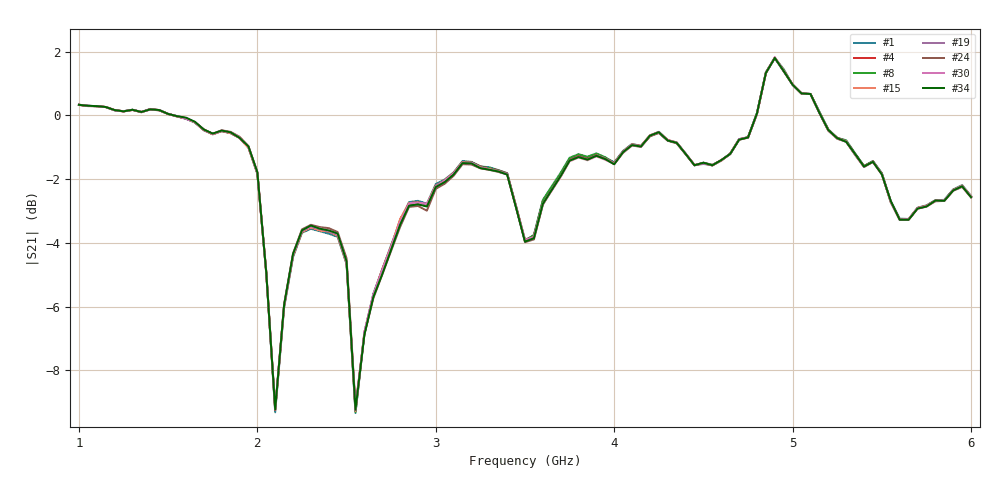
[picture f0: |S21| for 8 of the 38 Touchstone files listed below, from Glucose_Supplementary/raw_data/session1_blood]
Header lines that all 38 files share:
! NanoVNA-App
! Start: 1GHz Stop: 6GHz Points: 101
! S-Parameter data: F S11 S21 S12 S22
# Hz S RI R 50
!	Frequency	S11_Real	S11_Imag	S21_Real	S21_Imag	S12_Real	S12_Imag	S22_Real	S22_Imag
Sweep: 1 GHz to 6 GHz
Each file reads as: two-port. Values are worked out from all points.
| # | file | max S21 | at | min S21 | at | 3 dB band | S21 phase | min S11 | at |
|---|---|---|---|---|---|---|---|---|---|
| 1 | Blood Glu100 2.s2p | 1.79 dB | 4.9 GHz | -9.3 dB | 2.55 GHz | 1 GHz-1.95 GHz | 154 deg at 3.5 GHz | -30.9 dB | 1.45 GHz |
| 2 | Blood Glu100 3.s2p | 1.80 dB | 4.9 GHz | -9.3 dB | 2.55 GHz | 1 GHz-1.95 GHz | 154 deg at 3.5 GHz | -30.9 dB | 1.45 GHz |
| 3 | Blood Glu110 1 temp 25.1 deg.s2p | 1.82 dB | 4.9 GHz | -9.2 dB | 2.55 GHz | 1 GHz-1.95 GHz | 154 deg at 3.5 GHz | -31.7 dB | 3.8 GHz |
| 4 | Blood Glu110 2.s2p | 1.81 dB | 4.9 GHz | -9.3 dB | 2.1 GHz | 1 GHz-1.95 GHz | 154 deg at 3.5 GHz | -31.0 dB | 1.45 GHz |
| 5 | Blood Glu110 3.s2p | 1.81 dB | 4.9 GHz | -9.2 dB | 2.1 GHz | 1 GHz-1.95 GHz | 154 deg at 3.5 GHz | -31.1 dB | 3.8 GHz |
| 6 | Blood Glu120 1 temp 25.2 deg.s2p | 1.86 dB | 4.9 GHz | -9.3 dB | 2.55 GHz | 1 GHz-1.95 GHz | 154 deg at 3.5 GHz | -31.0 dB | 1.45 GHz |
| 7 | Blood Glu120 2.s2p | 1.80 dB | 4.9 GHz | -9.3 dB | 2.55 GHz | 1 GHz-1.95 GHz | 154 deg at 3.5 GHz | -31.0 dB | 1.45 GHz |
| 8 | Blood Glu120 3.s2p | 1.80 dB | 4.9 GHz | -9.3 dB | 2.55 GHz | 1 GHz-1.95 GHz | 155 deg at 3.5 GHz | -31.3 dB | 3.8 GHz |
| 9 | Blood Glu125 1 temp 25.3 deg.s2p | 1.80 dB | 4.9 GHz | -9.3 dB | 2.55 GHz | 1 GHz-1.95 GHz | 154 deg at 3.5 GHz | -30.9 dB | 1.45 GHz |
| 10 | Blood Glu125 2.s2p | 1.81 dB | 4.9 GHz | -9.3 dB | 2.55 GHz | 1 GHz-1.95 GHz | 154 deg at 3.5 GHz | -30.9 dB | 1.45 GHz |
| 11 | Blood Glu125 3.s2p | 1.80 dB | 4.9 GHz | -9.3 dB | 2.55 GHz | 1 GHz-1.95 GHz | 154 deg at 3.5 GHz | -30.9 dB | 1.45 GHz |
| 12 | Blood Glu145 1 temp 25.2 deg.s2p | 1.80 dB | 4.9 GHz | -9.3 dB | 2.55 GHz | 1 GHz-1.95 GHz | 154 deg at 3.5 GHz | -30.9 dB | 1.45 GHz |
| 13 | Blood Glu145 2.s2p | 1.80 dB | 4.9 GHz | -9.3 dB | 2.55 GHz | 1 GHz-1.95 GHz | 154 deg at 3.5 GHz | -30.9 dB | 1.45 GHz |
| 14 | Blood Glu145 3.s2p | 1.82 dB | 4.9 GHz | -9.3 dB | 2.55 GHz | 1 GHz-1.95 GHz | 154 deg at 3.5 GHz | -31.1 dB | 3.8 GHz |
| 15 | Blood Glu165 1 temp 25.2 deg.s2p | 1.82 dB | 4.9 GHz | -9.3 dB | 2.55 GHz | 1 GHz-1.95 GHz | 154 deg at 3.5 GHz | -30.9 dB | 1.45 GHz |
| 16 | Blood Glu165 2.s2p | 1.81 dB | 4.9 GHz | -9.3 dB | 2.55 GHz | 1 GHz-1.95 GHz | 154 deg at 3.5 GHz | -31.0 dB | 1.45 GHz |
| 17 | Blood Glu165 3.s2p | 1.80 dB | 4.9 GHz | -9.4 dB | 2.55 GHz | 1 GHz-1.95 GHz | 154 deg at 3.5 GHz | -31.0 dB | 1.45 GHz |
| 18 | Blood Glu185 1 temp 25.1 deg.s2p | 1.80 dB | 4.9 GHz | -9.2 dB | 2.55 GHz | 1 GHz-1.95 GHz | 154 deg at 3.5 GHz | -30.9 dB | 1.45 GHz |
| 19 | Blood Glu185 2.s2p | 1.80 dB | 4.9 GHz | -9.2 dB | 2.1 GHz | 1 GHz-1.95 GHz | 154 deg at 3.5 GHz | -30.9 dB | 1.45 GHz |
| 20 | Blood Glu185 3.s2p | 1.82 dB | 4.9 GHz | -9.2 dB | 2.55 GHz | 1 GHz-1.95 GHz | 154 deg at 3.5 GHz | -31.3 dB | 3.8 GHz |
| 21 | Blood Glu200 1 temp 25.1 deg.s2p | 1.80 dB | 4.9 GHz | -9.2 dB | 2.1 GHz | 1 GHz-1.95 GHz | 154 deg at 3.5 GHz | -30.9 dB | 1.45 GHz |
| 22 | Blood Glu200 2.s2p | 1.81 dB | 4.9 GHz | -9.2 dB | 2.1 GHz | 1 GHz-1.95 GHz | 154 deg at 3.5 GHz | -30.9 dB | 1.45 GHz |
| 23 | Blood Glu200 3.s2p | 1.80 dB | 4.9 GHz | -9.2 dB | 2.1 GHz | 1 GHz-1.95 GHz | 154 deg at 3.5 GHz | -30.9 dB | 1.45 GHz |
| 24 | Blood Glu220 1 temp 25.3 deg.s2p | 1.81 dB | 4.9 GHz | -9.2 dB | 2.1 GHz | 1 GHz-1.95 GHz | 154 deg at 3.5 GHz | -30.9 dB | 3.8 GHz |
| 25 | Blood Glu220 2.s2p | 1.82 dB | 4.9 GHz | -9.2 dB | 2.1 GHz | 1 GHz-1.95 GHz | 154 deg at 3.5 GHz | -30.8 dB | 1.45 GHz |
| 26 | Blood Glu220 3.s2p | 1.81 dB | 4.9 GHz | -9.2 dB | 2.55 GHz | 1 GHz-1.95 GHz | 154 deg at 3.5 GHz | -31.0 dB | 1.45 GHz |
| 27 | Blood Glu240 1 temp 25.3 deg.s2p | 1.80 dB | 4.9 GHz | -9.2 dB | 2.55 GHz | 1 GHz-1.95 GHz | 154 deg at 3.5 GHz | -30.9 dB | 1.45 GHz |
| 28 | Blood Glu240 2.s2p | 1.82 dB | 4.9 GHz | -9.2 dB | 2.55 GHz | 1 GHz-1.95 GHz | 154 deg at 3.5 GHz | -30.9 dB | 1.45 GHz |
| 29 | Blood Glu240 3.s2p | 1.82 dB | 4.9 GHz | -9.2 dB | 2.55 GHz | 1 GHz-1.95 GHz | 154 deg at 3.5 GHz | -30.9 dB | 1.45 GHz |
| 30 | Blood Glu260 1 temp 25.4 deg.s2p | 1.82 dB | 4.9 GHz | -9.2 dB | 2.55 GHz | 1 GHz-1.95 GHz | 154 deg at 3.5 GHz | -30.8 dB | 1.45 GHz |
| 31 | Blood Glu260 2.s2p | 1.81 dB | 4.9 GHz | -9.2 dB | 2.1 GHz | 1 GHz-1.95 GHz | 154 deg at 3.5 GHz | -30.8 dB | 1.45 GHz |
| 32 | Blood Glu260 3.s2p | 1.81 dB | 4.9 GHz | -9.2 dB | 2.1 GHz | 1 GHz-1.95 GHz | 153 deg at 3.5 GHz | -30.8 dB | 1.45 GHz |
| 33 | Blood Glu280 1 temp 25.2 deg.s2p | 1.81 dB | 4.9 GHz | -9.2 dB | 2.55 GHz | 1 GHz-1.95 GHz | 154 deg at 3.5 GHz | -30.8 dB | 1.45 GHz |
| 34 | Blood Glu280 2.s2p | 1.80 dB | 4.9 GHz | -9.2 dB | 2.55 GHz | 1 GHz-1.95 GHz | 154 deg at 3.5 GHz | -30.8 dB | 1.45 GHz |
| 35 | Blood Glu280 3.s2p | 1.80 dB | 4.9 GHz | -9.2 dB | 2.55 GHz | 1 GHz-1.95 GHz | 154 deg at 3.5 GHz | -30.8 dB | 1.45 GHz |
| 36 | Blood Glu300 1 temp 25.3 deg.s2p | 1.80 dB | 4.9 GHz | -9.2 dB | 2.55 GHz | 1 GHz-1.95 GHz | 154 deg at 3.5 GHz | -30.9 dB | 1.45 GHz |
| 37 | Blood Glu300 2.s2p | 1.80 dB | 4.9 GHz | -9.2 dB | 2.55 GHz | 1 GHz-1.95 GHz | 154 deg at 3.5 GHz | -30.9 dB | 1.45 GHz |
| 38 | Blood Glu300 3.s2p | 1.80 dB | 4.9 GHz | -9.2 dB | 2.55 GHz | 1 GHz-1.95 GHz | 154 deg at 3.5 GHz | -30.8 dB | 1.45 GHz |
